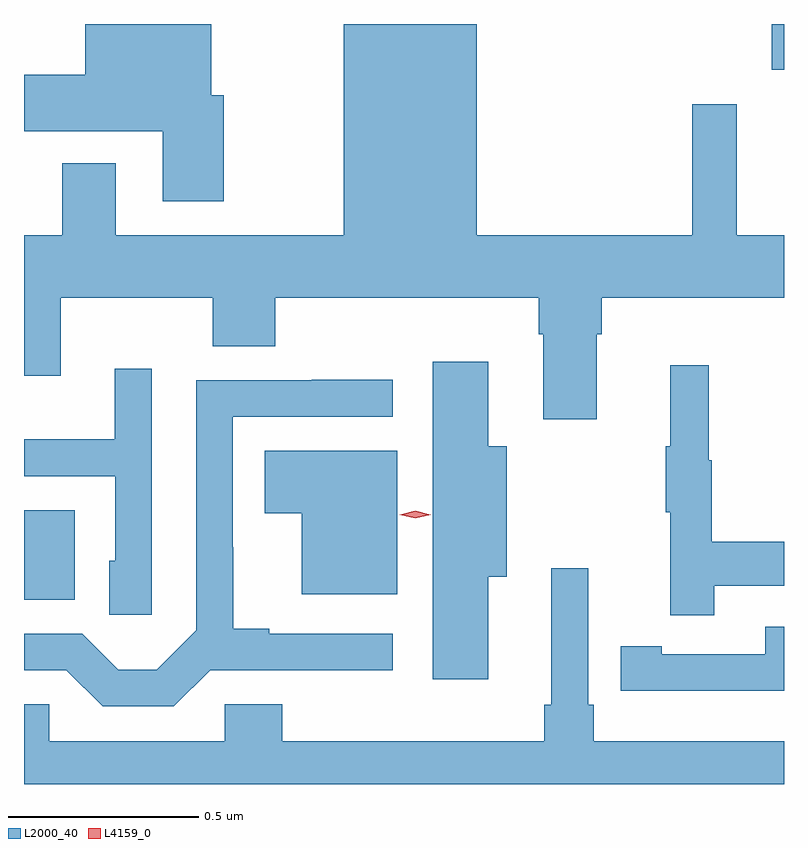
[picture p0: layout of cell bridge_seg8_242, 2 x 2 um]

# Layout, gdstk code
import gdstk
lib = gdstk.Library(unit=1e-6, precision=1e-09)
def R(c, l, rs):  # rectangles x0, y0, x1, y1
    for r in rs: c.add(gdstk.rectangle(r[:2], r[2:], *l))
def P(c, l, *ps):  # polygons
    for p in ps: c.add(gdstk.Polygon(p, *l))
L2000_40 = (2000, 40)
L4159_0 = (4159, 0)

bridge_seg8_242 = lib.new_cell('bridge_seg8_242')
R(bridge_seg8_242, L2000_40, [(318.132,1133.021,318.265,1133.257), (320.1,1134.416,320.132,1134.536)])
P(bridge_seg8_242, L2000_40, [(319.639,1133.72),(319.652,1133.72),(319.652,1133.816),(320.132,1133.816),(320.132,1133.98),(320.008,1133.98),(320.008,1134.325),(319.891,1134.325),(319.891,1133.98),(319.324,1133.98),(319.324,1134.536),(318.974,1134.536),(318.974,1133.98),(318.373,1133.98),(318.373,1134.169),(318.233,1134.169),(318.233,1133.98),(318.132,1133.98),(318.132,1133.61),(318.229,1133.61),(318.229,1133.816),(318.629,1133.816),(318.629,1133.688),(318.793,1133.688),(318.793,1133.816),(319.487,1133.816),(319.487,1133.72),(319.499,1133.72),(319.499,1133.496),(319.639,1133.496)],
  [(318.657,1134.348),(318.625,1134.348),(318.625,1134.536),(318.293,1134.536),(318.293,1134.403),(318.132,1134.403),(318.132,1134.254),(318.497,1134.254),(318.497,1134.069),(318.657,1134.069)],
  [(319.354,1133.081),(319.402,1133.081),(319.402,1133.425),(319.354,1133.425),(319.354,1133.647),(319.208,1133.647),(319.208,1132.812),(319.354,1132.812)],
  [(319.949,1133.058),(320.132,1133.058),(320.132,1133.174),(319.942,1133.174),(319.942,1133.388),(319.934,1133.388),(319.934,1133.638),(319.832,1133.638),(319.832,1133.425),(319.821,1133.425),(319.821,1133.251),(319.832,1133.251),(319.832,1132.98),(319.949,1132.98)],
  [(318.468,1133.629),(318.371,1133.629),(318.371,1133.443),(318.132,1133.443),(318.132,1133.346),(318.372,1133.346),(318.372,1133.124),(318.356,1133.124),(318.356,1132.981),(318.468,1132.981)],
  [(318.622,1132.836),(318.855,1132.836),(318.855,1132.835),(319.102,1132.835),(319.102,1132.932),(318.778,1132.932),(318.778,1132.945),(318.683,1132.945),(318.683,1133.159),(318.681,1133.159),(318.681,1133.502),(319.102,1133.502),(319.102,1133.6),(318.889,1133.6),(318.889,1133.598),(318.585,1133.598),(318.585,1132.941),(318.481,1132.837),(318.38,1132.837),(318.285,1132.932),(318.132,1132.932),(318.132,1132.836),(318.243,1132.836),(318.339,1132.74),(318.526,1132.74)],
  [(319.114,1133.413),(318.766,1133.413),(318.766,1133.248),(318.863,1133.248),(318.863,1133.036),(319.114,1133.036)],
  [(320.132,1132.648),(319.631,1132.648),(319.631,1132.744),(319.617,1132.744),(319.617,1133.104),(319.52,1133.104),(319.52,1132.744),(319.501,1132.744),(319.501,1132.648),(318.812,1132.648),(318.812,1132.746),(318.66,1132.746),(318.66,1132.648),(318.198,1132.648),(318.198,1132.746),(318.132,1132.746),(318.132,1132.536),(320.132,1132.536)],
  [(320.132,1132.95),(320.082,1132.95),(320.082,1132.878),(319.81,1132.878),(319.81,1132.898),(319.702,1132.898),(319.702,1132.782),(319.81,1132.782),(319.81,1132.781),(320.132,1132.781)])
P(bridge_seg8_242, L4159_0, [(319.162,1133.235),(319.121,1133.244),(319.121,1133.245),(319.121,1133.245),(319.162,1133.255),(319.202,1133.245),(319.202,1133.245),(319.202,1133.245)])

lib.write_gds('bridge_seg8_242.gds')
